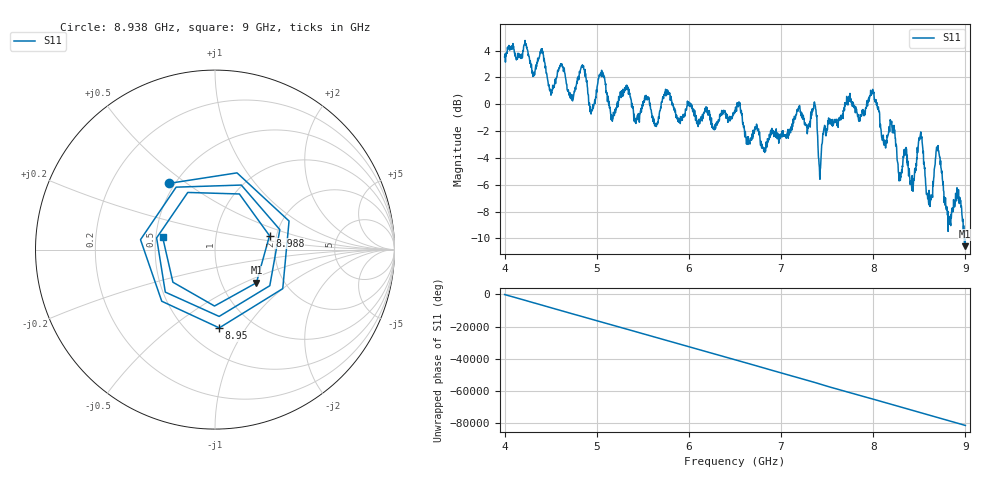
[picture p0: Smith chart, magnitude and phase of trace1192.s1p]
! Created with skrf 1.8.0 (http://scikit-rf.org).
# Hz S RI R 50.0
!freq ReS11 ImS11
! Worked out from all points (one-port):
!   1601 points, 4 GHz to 9 GHz, reference 50 ohm
!   lowest |S11| = -10.6 dB at 8.991 GHz (marker M1), VSWR 1.84, Z = 72.9 - j29.5 ohm
!   |S11| at or under -10 dB: 8.987537 GHz to end of sweep
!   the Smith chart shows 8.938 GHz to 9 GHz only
!   S11 on the Smith chart (normalised r, x): 8.938 GHz: 0.46, +0.43; 8.95 GHz: 0.71, -0.76; 8.988 GHz: 1.84, +0.32; 9 GHz: 0.54, +0.08
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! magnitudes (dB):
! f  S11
! 4 GHz  3.5
! 4.625 GHz  2.9
! 4.725 GHz  0.7
! 4.853 GHz  2.8
! 4.941 GHz  -0.5
! 5.05 GHz  2.3
! 5.162 GHz  -0.8
! 5.25 GHz  0.6
! 5.875 GHz  -1.1
! 6.5 GHz  -0.6
! 6.809 GHz  -3.2
! 7.125 GHz  -1.7
! 7.362 GHz  0.2
! 7.425 GHz  -4.9
! 7.75 GHz  0.4
! 7.991 GHz  0.8
! 8.288 GHz  -5.1
! 8.375 GHz  -4.2
! 8.422 GHz  -5.3
! 8.512 GHz  -2.1
! 8.6 GHz  -7.3
! 8.7 GHz  -3.4
! 8.816 GHz  -8.3
! 8.938 GHz  -6.9
! 8.95 GHz  -7.2
! 8.988 GHz  -10.1
! 8.991 GHz  -10.6
! 9 GHz  -10.5
